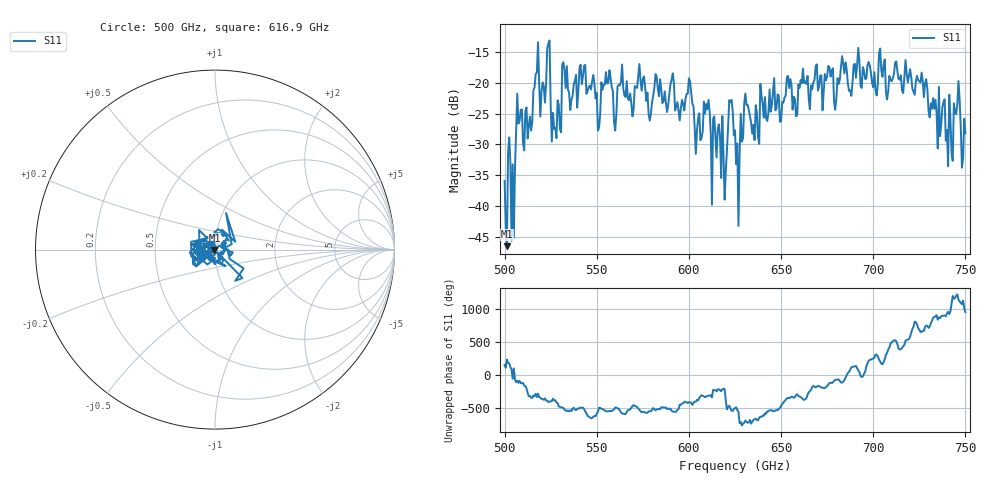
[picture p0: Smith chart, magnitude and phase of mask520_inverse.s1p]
!Created with skrf (http://scikit-rf.org).
# GHz S MA R 50.0
!freq magS11 angS11
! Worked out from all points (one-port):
!   401 points, 500 GHz to 750 GHz, reference 50 ohm
!   lowest |S11| = -46.5 dB at 501.2 GHz (marker M1), VSWR 1.01, Z = 49.7 - j0.38 ohm
!   |S11| at or under -10 dB: start of sweep to end of sweep
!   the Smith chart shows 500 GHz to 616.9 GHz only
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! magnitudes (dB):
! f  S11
! 500 GHz  -35.9
! 501.2 GHz  -46.5
! 505 GHz  -45.1
! 508.1 GHz  -26.2
! 513.8 GHz  -25.5
! 516.9 GHz  -18.6
! 520.6 GHz  -19.9
! 523.8 GHz  -13.7
! 526.9 GHz  -27.4
! 531.2 GHz  -17.0
! 542.5 GHz  -19.0
! 550.6 GHz  -27.8
! 562.5 GHz  -20.5
! 593.8 GHz  -23.1
! 609.4 GHz  -23.4
! 618.8 GHz  -31.5
! 622.5 GHz  -23.2
! 625 GHz  -27.7
! 626.2 GHz  -29.8
! 631.2 GHz  -23.6
! 636.9 GHz  -24.8
! 656.2 GHz  -24.3
! 676.9 GHz  -19.0
! 680 GHz  -22.5
! 683.8 GHz  -17.0
! 687.5 GHz  -21.2
! 718.8 GHz  -19.9
! 750 GHz  -28.2
